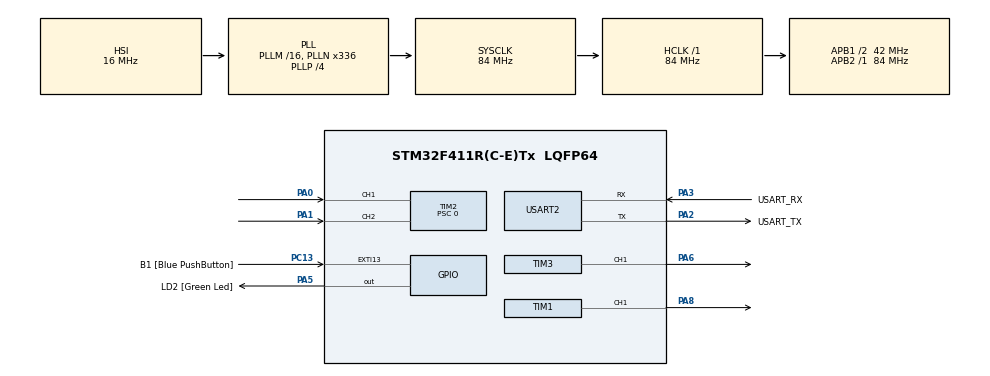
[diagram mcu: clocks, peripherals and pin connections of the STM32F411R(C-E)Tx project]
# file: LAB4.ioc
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Mcu.Family=STM32F4
Mcu.Name=STM32F411R(C-E)Tx
Mcu.Package=LQFP64
NVIC.PriorityGroup=NVIC_PRIORITYGROUP_0
PA0-WKUP.Signal=S_TIM2_CH1_ETR
PA1.Signal=S_TIM2_CH2
PA13.GPIO_Label=TMS
PA13.Mode=Trace_Asynchronous_SW
PA13.Signal=SYS_JTMS-SWDIO
PA14.GPIO_Label=TCK
PA14.Mode=Trace_Asynchronous_SW
PA14.Signal=SYS_JTCK-SWCLK
PA2.GPIO_Label=USART_TX
PA2.Mode=Asynchronous
PA2.Signal=USART2_TX
PA3.GPIO_Label=USART_RX
PA3.Mode=Asynchronous
PA3.Signal=USART2_RX
PA5.GPIO_Label=LD2 [Green Led]
PA5.Signal=GPIO_Output
PA6.Signal=S_TIM3_CH1
PA8.Signal=S_TIM1_CH1
PB3.GPIO_Label=SWO
PB3.Mode=Trace_Asynchronous_SW
PB3.Signal=SYS_JTDO-SWO
PC13-ANTI_TAMP.GPIO_Label=B1 [Blue PushButton]
PC13-ANTI_TAMP.GPIO_ModeDefaultEXTI=GPIO_MODE_IT_FALLING
PC13-ANTI_TAMP.Signal=GPXTI13
PC14-OSC32_IN.Mode=LSE-External-Oscillator
PC14-OSC32_IN.Signal=RCC_OSC32_IN
PC15-OSC32_OUT.Mode=LSE-External-Oscillator
PC15-OSC32_OUT.Signal=RCC_OSC32_OUT
PH0\ -\ OSC_IN.Mode=HSE-External-Clock-Source
PH0\ -\ OSC_IN.Signal=RCC_OSC_IN
PH1\ -\ OSC_OUT.Mode=HSE-External-Clock-Source
PH1\ -\ OSC_OUT.Signal=RCC_OSC_OUT
ProjectManager.HeapSize=0x200
ProjectManager.StackSize=0x400
ProjectManager.TargetToolchain=STM32CubeIDE
RCC.48MHZClocksFreq_Value=84000000
RCC.AHBFreq_Value=84000000
RCC.APB1CLKDivider=RCC_HCLK_DIV2
RCC.APB1Freq_Value=42000000
RCC.APB1TimFreq_Value=84000000
RCC.APB2Freq_Value=84000000
RCC.APB2TimFreq_Value=84000000
RCC.CortexFreq_Value=84000000
RCC.FLatency-AdvancedSettings=FLASH_LATENCY_2
RCC.HCLKFreq_Value=84000000
RCC.HSE_VALUE=8000000
RCC.HSI_VALUE=16000000
RCC.PLLN=336
RCC.PLLP=RCC_PLLP_DIV4
RCC.SYSCLKFreq_VALUE=84000000
RCC.SYSCLKSource=RCC_SYSCLKSOURCE_PLLCLK
RCC.VCOOutputFreq_Value=336000000
SH.S_TIM1_CH1.0=TIM1_CH1,PWM Generation1 CH1
SH.S_TIM2_CH1_ETR.0=TIM2_CH1,Encoder_Interface
SH.S_TIM2_CH2.0=TIM2_CH2,Encoder_Interface
SH.S_TIM3_CH1.0=TIM3_CH1,PWM Generation1 CH1
TIM1.Channel-PWM\ Generation1\ CH1=TIM_CHANNEL_1
TIM1.Period=999
TIM1.Prescaler=83
TIM1.Pulse-PWM\ Generation1\ CH1=0
TIM2.AutoReloadPreload=TIM_AUTORELOAD_PRELOAD_ENABLE
TIM2.EncoderMode=TIM_ENCODERMODE_TI12
TIM2.Period=307199
TIM2.Prescaler=0
TIM3.Channel-PWM\ Generation1\ CH1=TIM_CHANNEL_1
TIM3.Period=999
TIM3.Prescaler=83
USART2.VirtualMode=VM_ASYNC
VP_TIM1_VS_ClockSourceINT.Mode=Internal
VP_TIM3_VS_ClockSourceINT.Mode=Internal
board=NUCLEO-F411RE

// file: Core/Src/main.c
/* USER CODE BEGIN Header */
/**
  ******************************************************************************
  * @file           : main.c
  * @brief          : Main program body
  ******************************************************************************
  * @attention
  *
  * Copyright (c) 2023 STMicroelectronics.
  * All rights reserved.
  *
  * This software is licensed under terms that can be found in the LICENSE file
  * in the root directory of this software component.
  * If no LICENSE file comes with this software, it is provided AS-IS.
  *
  ******************************************************************************
  */
/* USER CODE END Header */
#include "main.h"

/* USER CODE BEGIN Includes */
#define IC_BUFFER_SIZE 768 //Define Buffer size to get the value from encoder
/* USER CODE END Includes */

TIM_HandleTypeDef htim1;
TIM_HandleTypeDef htim2;
TIM_HandleTypeDef htim3;

UART_HandleTypeDef huart2;

/* USER CODE BEGIN PV */

//PID
float Kp = 10;
float Kd = 0.1;
float Ki = 5;
float e = 0;
float s = 0;
float p = 0;
float u = 0;
float degree =500;
float Position = 0;
float Delta_t = 0.01;

//Input Capture
float QEIRawData;
uint32_t timestamp = 5;
/* USER CODE END PV */

void SystemClock_Config(void);
static void MX_GPIO_Init(void);
static void MX_USART2_UART_Init(void);
static void MX_TIM2_Init(void);
static void MX_TIM1_Init(void);
static void MX_TIM3_Init(void);

int main(void)
{

  /* MCU Configuration--------------------------------------------------------*/

  /* Reset of all peripherals, Initializes the Flash interface and the Systick. */
  HAL_Init();

  /* Configure the system clock */
  SystemClock_Config();

  /* Initialize all configured peripherals */
  MX_GPIO_Init();
  MX_USART2_UART_Init();
  MX_TIM2_Init();
  MX_TIM1_Init();
  MX_TIM3_Init();
  /* USER CODE BEGIN 2 */
  void PIDCalculate();
  void MotorDrive();
  HAL_TIM_Encoder_Start(&htim2, TIM_CHANNEL_1|TIM_CHANNEL_2);
  //Timer 1 PWM Output
  HAL_TIM_Base_Start(&htim1);
  HAL_TIM_PWM_Start(&htim1 , TIM_CHANNEL_1);

  HAL_TIM_Base_Start(&htim3);
  HAL_TIM_PWM_Start(&htim3 , TIM_CHANNEL_1);

  /* USER CODE END 2 */

  /* Infinite loop */
  while (1)
  {

    /* USER CODE BEGIN 3 */
	  QEIRawData = __HAL_TIM_GET_COUNTER(&htim2);
	  static uint32_t timestamp = 0;
	  if(HAL_GetTick() >= timestamp)
	  {
		  Position = (QEIRawData/3072)*360; //Degree unit
		  PIDCalculate();
		  MotorDrive();
		  timestamp = HAL_GetTick()+10;
		  // 0.1172 from 360 degree/3072 Pulse
	  }
  }
  /* USER CODE END 3 */
}

void SystemClock_Config(void)
{
  RCC_OscInitTypeDef RCC_OscInitStruct = {0};
  RCC_ClkInitTypeDef RCC_ClkInitStruct = {0};

  /** Configure the main internal regulator output voltage
  */
  __HAL_RCC_PWR_CLK_ENABLE();
  __HAL_PWR_VOLTAGESCALING_CONFIG(PWR_REGULATOR_VOLTAGE_SCALE1);

  /** Initializes the RCC Oscillators according to the specified parameters
  * in the RCC_OscInitTypeDef structure.
  */
  RCC_OscInitStruct.OscillatorType = RCC_OSCILLATORTYPE_HSI;
  RCC_OscInitStruct.HSIState = RCC_HSI_ON;
  RCC_OscInitStruct.HSICalibrationValue = RCC_HSICALIBRATION_DEFAULT;
  RCC_OscInitStruct.PLL.PLLState = RCC_PLL_ON;
  RCC_OscInitStruct.PLL.PLLSource = RCC_PLLSOURCE_HSI;
  RCC_OscInitStruct.PLL.PLLM = 16;
  RCC_OscInitStruct.PLL.PLLN = 336;
  RCC_OscInitStruct.PLL.PLLP = RCC_PLLP_DIV4;
  RCC_OscInitStruct.PLL.PLLQ = 4;
  if (HAL_RCC_OscConfig(&RCC_OscInitStruct) != HAL_OK)
  {
    Error_Handler();
  }

  /** Initializes the CPU, AHB and APB buses clocks
  */
  RCC_ClkInitStruct.ClockType = RCC_CLOCKTYPE_HCLK|RCC_CLOCKTYPE_SYSCLK
                              |RCC_CLOCKTYPE_PCLK1|RCC_CLOCKTYPE_PCLK2;
  RCC_ClkInitStruct.SYSCLKSource = RCC_SYSCLKSOURCE_PLLCLK;
  RCC_ClkInitStruct.AHBCLKDivider = RCC_SYSCLK_DIV1;
  RCC_ClkInitStruct.APB1CLKDivider = RCC_HCLK_DIV2;
  RCC_ClkInitStruct.APB2CLKDivider = RCC_HCLK_DIV1;

  if (HAL_RCC_ClockConfig(&RCC_ClkInitStruct, FLASH_LATENCY_2) != HAL_OK)
  {
    Error_Handler();
  }
}

static void MX_TIM1_Init(void)
{

  TIM_ClockConfigTypeDef sClockSourceConfig = {0};
  TIM_MasterConfigTypeDef sMasterConfig = {0};
  TIM_OC_InitTypeDef sConfigOC = {0};
  TIM_BreakDeadTimeConfigTypeDef sBreakDeadTimeConfig = {0};

  htim1.Instance = TIM1;
  htim1.Init.Prescaler = 83;
  htim1.Init.CounterMode = TIM_COUNTERMODE_UP;
  htim1.Init.Period = 999;
  htim1.Init.ClockDivision = TIM_CLOCKDIVISION_DIV1;
  htim1.Init.RepetitionCounter = 0;
  htim1.Init.AutoReloadPreload = TIM_AUTORELOAD_PRELOAD_DISABLE;
  if (HAL_TIM_Base_Init(&htim1) != HAL_OK)
  {
    Error_Handler();
  }
  sClockSourceConfig.ClockSource = TIM_CLOCKSOURCE_INTERNAL;
  if (HAL_TIM_ConfigClockSource(&htim1, &sClockSourceConfig) != HAL_OK)
  {
    Error_Handler();
  }
  if (HAL_TIM_PWM_Init(&htim1) != HAL_OK)
  {
    Error_Handler();
  }
  sMasterConfig.MasterOutputTrigger = TIM_TRGO_RESET;
  sMasterConfig.MasterSlaveMode = TIM_MASTERSLAVEMODE_DISABLE;
  if (HAL_TIMEx_MasterConfigSynchronization(&htim1, &sMasterConfig) != HAL_OK)
  {
    Error_Handler();
  }
  sConfigOC.OCMode = TIM_OCMODE_PWM1;
  sConfigOC.Pulse = 0;
  sConfigOC.OCPolarity = TIM_OCPOLARITY_HIGH;
  sConfigOC.OCNPolarity = TIM_OCNPOLARITY_HIGH;
  sConfigOC.OCFastMode = TIM_OCFAST_DISABLE;
  sConfigOC.OCIdleState = TIM_OCIDLESTATE_RESET;
  sConfigOC.OCNIdleState = TIM_OCNIDLESTATE_RESET;
  if (HAL_TIM_PWM_ConfigChannel(&htim1, &sConfigOC, TIM_CHANNEL_1) != HAL_OK)
  {
    Error_Handler();
  }
  sBreakDeadTimeConfig.OffStateRunMode = TIM_OSSR_DISABLE;
  sBreakDeadTimeConfig.OffStateIDLEMode = TIM_OSSI_DISABLE;
  sBreakDeadTimeConfig.LockLevel = TIM_LOCKLEVEL_OFF;
  sBreakDeadTimeConfig.DeadTime = 0;
  sBreakDeadTimeConfig.BreakState = TIM_BREAK_DISABLE;
  sBreakDeadTimeConfig.BreakPolarity = TIM_BREAKPOLARITY_HIGH;
  sBreakDeadTimeConfig.AutomaticOutput = TIM_AUTOMATICOUTPUT_DISABLE;
  if (HAL_TIMEx_ConfigBreakDeadTime(&htim1, &sBreakDeadTimeConfig) != HAL_OK)
  {
    Error_Handler();
  }
  HAL_TIM_MspPostInit(&htim1);

}

static void MX_TIM2_Init(void)
{

  TIM_Encoder_InitTypeDef sConfig = {0};
  TIM_MasterConfigTypeDef sMasterConfig = {0};

  htim2.Instance = TIM2;
  htim2.Init.Prescaler = 0;
  htim2.Init.CounterMode = TIM_COUNTERMODE_UP;
  htim2.Init.Period = 307199;
  htim2.Init.ClockDivision = TIM_CLOCKDIVISION_DIV1;
  htim2.Init.AutoReloadPreload = TIM_AUTORELOAD_PRELOAD_ENABLE;
  sConfig.EncoderMode = TIM_ENCODERMODE_TI12;
  sConfig.IC1Polarity = TIM_ICPOLARITY_RISING;
  sConfig.IC1Selection = TIM_ICSELECTION_DIRECTTI;
  sConfig.IC1Prescaler = TIM_ICPSC_DIV1;
  sConfig.IC1Filter = 0;
  sConfig.IC2Polarity = TIM_ICPOLARITY_RISING;
  sConfig.IC2Selection = TIM_ICSELECTION_DIRECTTI;
  sConfig.IC2Prescaler = TIM_ICPSC_DIV1;
  sConfig.IC2Filter = 0;
  if (HAL_TIM_Encoder_Init(&htim2, &sConfig) != HAL_OK)
  {
    Error_Handler();
  }
  sMasterConfig.MasterOutputTrigger = TIM_TRGO_RESET;
  sMasterConfig.MasterSlaveMode = TIM_MASTERSLAVEMODE_DISABLE;
  if (HAL_TIMEx_MasterConfigSynchronization(&htim2, &sMasterConfig) != HAL_OK)
  {
    Error_Handler();
  }

}

static void MX_TIM3_Init(void)
{

  TIM_ClockConfigTypeDef sClockSourceConfig = {0};
  TIM_MasterConfigTypeDef sMasterConfig = {0};
  TIM_OC_InitTypeDef sConfigOC = {0};

  htim3.Instance = TIM3;
  htim3.Init.Prescaler = 83;
  htim3.Init.CounterMode = TIM_COUNTERMODE_UP;
  htim3.Init.Period = 999;
  htim3.Init.ClockDivision = TIM_CLOCKDIVISION_DIV1;
  htim3.Init.AutoReloadPreload = TIM_AUTORELOAD_PRELOAD_DISABLE;
  if (HAL_TIM_Base_Init(&htim3) != HAL_OK)
  {
    Error_Handler();
  }
  sClockSourceConfig.ClockSource = TIM_CLOCKSOURCE_INTERNAL;
  if (HAL_TIM_ConfigClockSource(&htim3, &sClockSourceConfig) != HAL_OK)
  {
    Error_Handler();
  }
  if (HAL_TIM_PWM_Init(&htim3) != HAL_OK)
  {
    Error_Handler();
  }
  sMasterConfig.MasterOutputTrigger = TIM_TRGO_RESET;
  sMasterConfig.MasterSlaveMode = TIM_MASTERSLAVEMODE_DISABLE;
  if (HAL_TIMEx_MasterConfigSynchronization(&htim3, &sMasterConfig) != HAL_OK)
  {
    Error_Handler();
  }
  sConfigOC.OCMode = TIM_OCMODE_PWM1;
  sConfigOC.Pulse = 0;
  sConfigOC.OCPolarity = TIM_OCPOLARITY_HIGH;
  sConfigOC.OCFastMode = TIM_OCFAST_DISABLE;
  if (HAL_TIM_PWM_ConfigChannel(&htim3, &sConfigOC, TIM_CHANNEL_1) != HAL_OK)
  {
    Error_Handler();
  }
  HAL_TIM_MspPostInit(&htim3);

}

static void MX_USART2_UART_Init(void)
{

  huart2.Instance = USART2;
  huart2.Init.BaudRate = 115200;
  huart2.Init.WordLength = UART_WORDLENGTH_8B;
  huart2.Init.StopBits = UART_STOPBITS_1;
  huart2.Init.Parity = UART_PARITY_NONE;
  huart2.Init.Mode = UART_MODE_TX_RX;
  huart2.Init.HwFlowCtl = UART_HWCONTROL_NONE;
  huart2.Init.OverSampling = UART_OVERSAMPLING_16;
  if (HAL_UART_Init(&huart2) != HAL_OK)
  {
    Error_Handler();
  }

}

static void MX_GPIO_Init(void)
{
  GPIO_InitTypeDef GPIO_InitStruct = {0};

  /* GPIO Ports Clock Enable */
  __HAL_RCC_GPIOC_CLK_ENABLE();
  __HAL_RCC_GPIOH_CLK_ENABLE();
  __HAL_RCC_GPIOA_CLK_ENABLE();
  __HAL_RCC_GPIOB_CLK_ENABLE();

  /*Configure GPIO pin Output Level */
  HAL_GPIO_WritePin(LD2_GPIO_Port, LD2_Pin, GPIO_PIN_RESET);

  /*Configure GPIO pin : B1_Pin */
  GPIO_InitStruct.Pin = B1_Pin;
  GPIO_InitStruct.Mode = GPIO_MODE_IT_FALLING;
  GPIO_InitStruct.Pull = GPIO_NOPULL;
  HAL_GPIO_Init(B1_GPIO_Port, &GPIO_InitStruct);

  /*Configure GPIO pin : LD2_Pin */
  GPIO_InitStruct.Pin = LD2_Pin;
  GPIO_InitStruct.Mode = GPIO_MODE_OUTPUT_PP;
  GPIO_InitStruct.Pull = GPIO_NOPULL;
  GPIO_InitStruct.Speed = GPIO_SPEED_FREQ_LOW;
  HAL_GPIO_Init(LD2_GPIO_Port, &GPIO_InitStruct);

}

/* USER CODE BEGIN 4 */
void PIDCalculate(){
	e = degree-Position;
	s = s+e;
	u = (Kp*e)+((Ki*s)*Delta_t)+((Kd*(e-p))/Delta_t);
	p = e;
}

void MotorDrive(){
	//Forward
	if(e > 5)
	{
		__HAL_TIM_SET_COMPARE(&htim1,TIM_CHANNEL_1,0);
		__HAL_TIM_SET_COMPARE(&htim3,TIM_CHANNEL_1,u);
	}
	//Backward
	else if(e < 5){
		if(u < 0){
		__HAL_TIM_SET_COMPARE(&htim1,TIM_CHANNEL_1,(u*-1));
		__HAL_TIM_SET_COMPARE(&htim3,TIM_CHANNEL_1,0);
		}
		else if(u > 0){
			__HAL_TIM_SET_COMPARE(&htim1,TIM_CHANNEL_1,(u));
			__HAL_TIM_SET_COMPARE(&htim3,TIM_CHANNEL_1,0);
			}
	}
	//Stop
	else{
		__HAL_TIM_SET_COMPARE(&htim1,TIM_CHANNEL_1,0);
		__HAL_TIM_SET_COMPARE(&htim3,TIM_CHANNEL_1,0);
	}
}
/* USER CODE END 4 */

void Error_Handler(void)
{
  __disable_irq();
  while (1)
  {
  }
}
